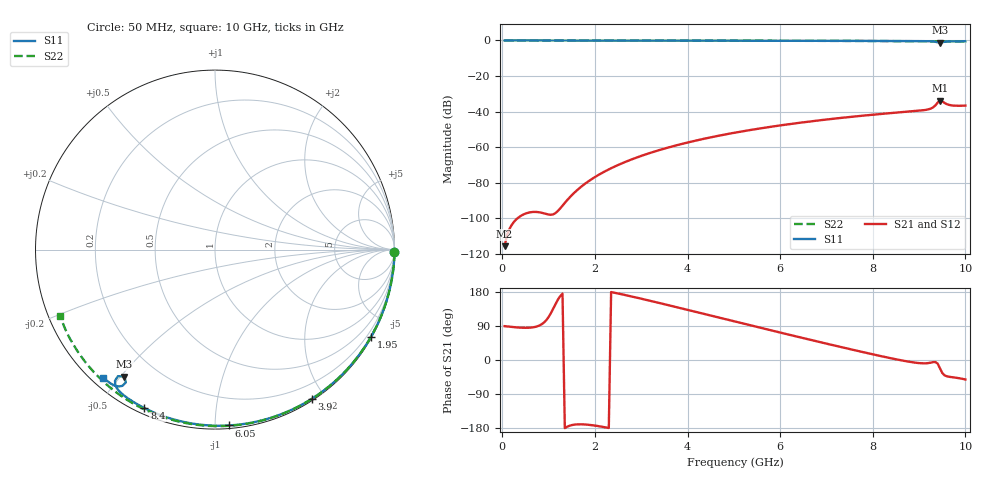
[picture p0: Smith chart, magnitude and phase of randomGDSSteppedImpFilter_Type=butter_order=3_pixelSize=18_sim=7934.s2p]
! freq	dB(S11)	phase(S11)	dB(S12)	phase(S12)
!  dB(S21)	phase(S21)	dB(S22)	phase(S22)
!S-par simulation data
#  GHz  S  DB  R 50
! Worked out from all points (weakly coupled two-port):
!   200 points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, 50 MHz to 10 GHz, reference 50 ohm
!   highest |S21| = -33.85 dB at 9.45 GHz (marker M1); lowest = -115.6 dB at 50 MHz (marker M2)
!   lowest |S11| = -1.2 dB at 9.45 GHz (marker M3), VSWR 14.30, Z = 4.42 - j25.6 ohm
!   |S11| at or under -10 dB: nowhere
!   |S22| runs from -0.6 to 0.0 dB; largest |S21 - S12| = 0
!   S11 on the Smith chart (normalised r, x): 50 MHz: open; 1.95 GHz: 0.03, -3.83; 3.9 GHz: 0.02, -1.84; 6.05 GHz: 0.02, -1.08; 8.4 GHz: 0.02, -0.65; 10 GHz: 0.03, -0.45
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0.05  -0.00 -0.8  -115.55 89.3  -115.55 89.3  -0.00 -0.9
0.9  -0.02 -13.6  -97.12 98.9  -97.12 98.9  -0.02 -16.1
1.75  -0.03 -26.3  -81.20 -169.9  -81.20 -169.9  -0.04 -30.9
1.8  -0.03 -27.0  -80.23 -170.3  -80.23 -170.3  -0.04 -31.8
1.95  -0.04 -29.2  -77.55 -172.2  -77.55 -172.2  -0.04 -34.4
2.25  -0.04 -33.6  -73.07 -178.3  -73.07 -178.3  -0.05 -39.5
2.6  -0.05 -38.7  -68.84 172.9  -68.84 172.9  -0.06 -45.4
3.4  -0.07 -50.1  -61.51 150.2  -61.51 150.2  -0.08 -58.7
3.9  -0.08 -57.0  -57.98 135.3  -57.98 135.3  -0.09 -66.7
5.05  -0.11 -72.5  -51.67 100.8  -51.67 100.8  -0.13 -84.6
6.05  -0.15 -85.4  -47.55 70.9  -47.55 70.9  -0.18 -99.5
6.7  -0.18 -93.5  -45.33 51.9  -45.33 51.9  -0.21 -109.0
7.5  -0.23 -103.2  -42.99 28.9  -42.99 28.9  -0.27 -120.3
8.35  -0.29 -113.4  -40.89 5.7  -40.89 5.7  -0.34 -132.3
8.4  -0.30 -114.0  -40.78 4.4  -40.78 4.4  -0.34 -133.0
9.2  -0.44 -124.5  -38.70 -8.1  -38.70 -8.1  -0.43 -144.4
9.3  -0.57 -126.4  -37.64 -5.7  -37.64 -5.7  -0.44 -145.8
9.4  -1.03 -127.5  -34.95 -9.4  -34.95 -9.4  -0.45 -147.2
9.45  -1.22 -125.5  -33.85 -21.6  -33.85 -21.6  -0.46 -148.0
9.55  -0.75 -124.2  -35.09 -40.5  -35.09 -40.5  -0.47 -149.5
9.7  -0.51 -126.8  -36.45 -45.1  -36.45 -45.1  -0.49 -151.8
10  -0.47 -131.0  -36.59 -51.5  -36.59 -51.5  -0.57 -156.9
